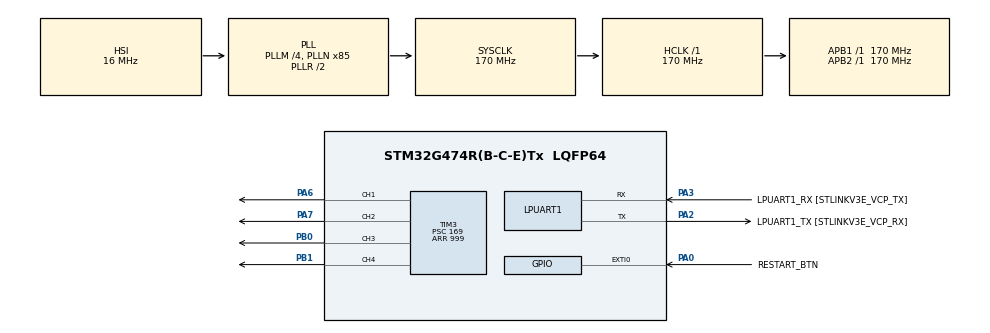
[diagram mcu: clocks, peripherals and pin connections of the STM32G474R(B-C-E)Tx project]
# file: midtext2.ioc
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Mcu.Family=STM32G4
Mcu.Name=STM32G474R(B-C-E)Tx
Mcu.Package=LQFP64
NVIC.EXTI0_IRQn=true\:0\:0\:false\:false\:true\:true\:true\:true
NVIC.LPUART1_IRQn=true\:0\:0\:false\:false\:true\:true\:true\:true
NVIC.PriorityGroup=NVIC_PRIORITYGROUP_4
PA0.GPIO_Label=RESTART_BTN
PA0.GPIO_ModeDefaultEXTI=GPIO_MODE_IT_FALLING
PA0.GPIO_PuPd=GPIO_PULLUP
PA0.Signal=GPXTI0
PA13.GPIO_Label=T_SWDIO
PA13.Mode=Serial_Wire
PA13.Signal=SYS_JTMS-SWDIO
PA14.GPIO_Label=T_SWCLK
PA14.Mode=Serial_Wire
PA14.Signal=SYS_JTCK-SWCLK
PA2.GPIO_Label=LPUART1_TX [STLINKV3E_VCP_RX]
PA2.Mode=Asynchronous
PA2.Signal=LPUART1_TX
PA3.GPIO_Label=LPUART1_RX [STLINKV3E_VCP_TX]
PA3.Mode=Asynchronous
PA3.Signal=LPUART1_RX
PA6.Signal=S_TIM3_CH1
PA7.Signal=S_TIM3_CH2
PB0.Signal=S_TIM3_CH3
PB1.Signal=S_TIM3_CH4
PB3.GPIO_Label=T_SWO
PB3.Signal=SYS_JTDO-SWO
PC14-OSC32_IN.GPIO_Label=RCC_OSC32_IN
PC14-OSC32_IN.Signal=RCC_OSC32_IN
PC15-OSC32_OUT.GPIO_Label=RCC_OSC32_OUT
PC15-OSC32_OUT.Signal=RCC_OSC32_OUT
PF0-OSC_IN.GPIO_Label=RCC_OSC_IN
PF0-OSC_IN.Signal=RCC_OSC_IN
PF1-OSC_OUT.GPIO_Label=RCC_OSC_OUT
PF1-OSC_OUT.Signal=RCC_OSC_OUT
ProjectManager.HeapSize=0x200
ProjectManager.StackSize=0x400
ProjectManager.TargetToolchain=STM32CubeIDE
RCC.ADC12Freq_Value=170000000
RCC.ADC345Freq_Value=170000000
RCC.AHBFreq_Value=170000000
RCC.APB1Freq_Value=170000000
RCC.APB1TimFreq_Value=170000000
RCC.APB2Freq_Value=170000000
RCC.APB2TimFreq_Value=170000000
RCC.CortexFreq_Value=170000000
RCC.EXTERNAL_CLOCK_VALUE=12288000
RCC.HCLKFreq_Value=170000000
RCC.HSE_VALUE=24000000
RCC.HSI48_VALUE=48000000
RCC.HSI_VALUE=16000000
RCC.LSE_VALUE=32768
RCC.PLLM=RCC_PLLM_DIV4
RCC.PLLN=85
RCC.RTCClockSelection=RCC_RTCCLKSOURCE_LSE
RCC.SYSCLKFreq_VALUE=170000000
RCC.SYSCLKSource=RCC_SYSCLKSOURCE_PLLCLK
RCC.USBFreq_Value=170000000
RCC.VCOOutputFreq_Value=340000000
SH.S_TIM3_CH1.0=TIM3_CH1,PWM Generation1 CH1
SH.S_TIM3_CH2.0=TIM3_CH2,PWM Generation2 CH2
SH.S_TIM3_CH3.0=TIM3_CH3,PWM Generation3 CH3
SH.S_TIM3_CH4.0=TIM3_CH4,PWM Generation4 CH4
TIM3.Channel-PWM\ Generation1\ CH1=TIM_CHANNEL_1
TIM3.Channel-PWM\ Generation2\ CH2=TIM_CHANNEL_2
TIM3.Channel-PWM\ Generation3\ CH3=TIM_CHANNEL_3
TIM3.Channel-PWM\ Generation4\ CH4=TIM_CHANNEL_4
TIM3.PeriodNoDither=999
TIM3.Prescaler=169
VP_SYS_VS_DBSignals.Mode=DisableDeadBatterySignals
VP_TIM3_VS_ClockSourceINT.Mode=Internal
board=NUCLEO-G474RE

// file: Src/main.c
/* USER CODE BEGIN Header */
/* STM32G474RE 1A2B 猜數字遊戲主程式。
 * Copyright (c) 2026 STMicroelectronics. All rights reserved.
 * 原廠授權條款請參閱專案 LICENSE；若無授權檔，程式依現況提供。
 */
/* USER CODE END Header */
/* 引用標頭檔 */
#include "main.h"
/* 額外引用的標頭檔 */
/* USER CODE BEGIN Includes */
#include <stdio.h>
#include <string.h>
/* USER CODE END Includes */
/* 自訂資料型別 */
/* 常數設定 */
/* USER CODE BEGIN PD */
/* ===== 遊戲與硬體參數 =====
 * GAME_LEN: 猜測長度為 4 位
 * RX_TIMEOUT_MS: 每次輪詢 UART 最多等 1 ms，避免主迴圈卡住
 * DEBOUNCE_MS: 按鈕防彈跳時間 200 ms
 * BREATH_STEP_MS: 每 10 ms 更新一次亮度
 * PWM_TOP: TIM3 ARR=999，CCR 0~999 對應約 0~100% 亮度
 */
#define GAME_LEN          4U
#define RX_TIMEOUT_MS     1U
#define DEBOUNCE_MS       200U
#define BREATH_STEP_MS    10U
#define PWM_TOP           999U
/* USER CODE END PD */
/* 巨集定義 */
/* 全域與靜態變數 */
UART_HandleTypeDef hlpuart1;
TIM_HandleTypeDef htim3;
/* USER CODE BEGIN PV */
/* ===== 遊戲資料 =====
 * answer / previous_answer: 當局與前一局的答案（每位以數值 0~9 儲存）
 * game_started: 第一次玩家操作後才產生答案
 * guess_round: 當局有效猜測次數
 * rng_state: xorshift 偽隨機產生器的內部狀態
 */
static const uint32_t led_channels[GAME_LEN] = {
  TIM_CHANNEL_1, TIM_CHANNEL_2, TIM_CHANNEL_3, TIM_CHANNEL_4
};
static uint8_t answer[GAME_LEN];
static uint8_t previous_answer[GAME_LEN];
static uint8_t have_previous_answer = 0U;
static uint8_t game_started = 0U;
static uint8_t game_won = 0U;
static uint32_t guess_round = 0U;
static uint32_t rng_state = 1U;
static uint8_t rng_seeded = 0U;
static uint8_t input_digits[GAME_LEN];
static uint8_t input_length = 0U;
static uint8_t input_invalid = 0U;
static uint8_t last_was_cr = 0U;
static uint8_t led_breath[GAME_LEN] = {0U};
static uint16_t breath_value = 0U;
static int8_t breath_direction = 1;
static uint32_t last_breath_tick = 0U;
volatile uint8_t restart_requested = 0U;
static volatile uint32_t last_button_tick = 0U;
static volatile uint8_t button_seen = 0U;
static volatile uint32_t first_button_tick = 0U;
static volatile uint32_t first_button_cycle = 0U;
/* USER CODE END PV */
/* 函式宣告 */
void SystemClock_Config(void);
static void MX_GPIO_Init(void);
static void MX_LPUART1_UART_Init(void);
static void MX_TIM3_Init(void);
/* USER CODE BEGIN PFP */
static void UART_Print(const char *message);
static void Seed_RNG(uint32_t tick, uint32_t cycles);
static uint32_t Random_Next(void);
static void Generate_Answer(void);
static void Start_New_Game(uint8_t reveal_old);
static void PWM_Set(uint8_t index, uint16_t duty);
static void LEDs_Clear(void);
static void LEDs_Show_Result(const uint8_t guess[GAME_LEN]);
static void Breath_Update(void);
static void Process_Line(void);
static void Process_Byte(uint8_t byte);
/* USER CODE END PFP */
/* 使用者自訂程式 */
/* USER CODE BEGIN 0 */
/* ===== 遊戲核心函式 =====
 * UART 使用輪詢接收；此區負責回覆訊息、產生答案、更新 LED 與判定輸入。
 */
/* 透過 LPUART1 傳送 ASCII 字串；格式包含 CRLF，方便 GUI 逐行解析。 */
static void UART_Print(const char *message)
{
  size_t length = strlen(message);
  if (length != 0U)
  {
    (void)HAL_UART_Transmit(&hlpuart1, (uint8_t *)message, (uint16_t)length, 1000U);
  }
}
/* 只在首次操作時設定種子，混合系統毫秒數與 DWT 週期數。 */
static void Seed_RNG(uint32_t tick, uint32_t cycles)
{
  if (rng_seeded != 0U) return;
  rng_state = 0x9E3779B9UL ^ tick ^ (cycles * 0x85EBCA6BUL);
  if (rng_state == 0U) rng_state = 0x6D2B79F5UL;
  rng_seeded = 1U;
  (void)Random_Next();
}
/* xorshift32 偽隨機演算法：快速產生下一個 32 位元數。 */
static uint32_t Random_Next(void)
{
  uint32_t x = rng_state; /* 以目前狀態計算下一個偽隨機值。 */
  x ^= x << 13;
  x ^= x >> 17;
  x ^= x << 5;
  rng_state = x;
  return x;
}
/* 從 0~9 數字池抽取不重複的四位答案，允許 0 開頭；避開上一局完全相同的答案。 */
static void Generate_Answer(void)
{
  uint8_t pool[10];
  uint8_t candidate[GAME_LEN];
  uint8_t duplicate;
  do
  {
    for (uint8_t i = 0U; i < 10U; ++i) pool[i] = i;
    for (uint8_t i = 0U; i < GAME_LEN; ++i)
    {
      uint8_t j = (uint8_t)(i + (Random_Next() % (10U - i))); /* 從剩餘數字選一個。 */
      uint8_t swap = pool[i];
      pool[i] = pool[j];
      pool[j] = swap;
      candidate[i] = pool[i];
    }
    duplicate = (uint8_t)(have_previous_answer &&
                         memcmp(candidate, previous_answer, GAME_LEN) == 0);
  } while (duplicate != 0U);
  memcpy(answer, candidate, GAME_LEN);
  memcpy(previous_answer, candidate, GAME_LEN); /* 保存本局，供下局避開重複。 */
  have_previous_answer = 1U;
}
/* 設定指定 LED 的 TIM3 比較值 CCR；0 熄滅，999 接近全亮。 */
static void PWM_Set(uint8_t index, uint16_t duty)
{
  if (index >= GAME_LEN) return;
  if (duty > PWM_TOP) duty = PWM_TOP;
  __HAL_TIM_SET_COMPARE(&htim3, led_channels[index], duty);
}
/* 清除四顆 LED 的呼吸標記，設定 PWM 為 0 並重設呼吸亮度。 */
static void LEDs_Clear(void)
{
  for (uint8_t i = 0U; i < GAME_LEN; ++i)
  {
    led_breath[i] = 0U;
    PWM_Set(i, 0U);
  }
  breath_value = 0U;
  breath_direction = 1;
  last_breath_tick = HAL_GetTick();
}
/* 逐一比較輸入位置：A（數字位置均正確）常亮；B（數字正確但位置錯誤）呼吸；其他熄滅。 */
static void LEDs_Show_Result(const uint8_t guess[GAME_LEN])
{
  for (uint8_t i = 0U; i < GAME_LEN; ++i)
  {
    uint8_t match_a = (uint8_t)(guess[i] == answer[i]); /* 數字及位置都正確。 */
    uint8_t match_b = 0U;
    if (match_a == 0U)
    {
      for (uint8_t j = 0U; j < GAME_LEN; ++j)
      {
        if (guess[i] == answer[j]) { match_b = 1U; break; }
      }
    }
    led_breath[i] = match_b; /* B 對應 LED 啟用呼吸效果。 */
    PWM_Set(i, (match_a != 0U) ? PWM_TOP :
               ((match_b != 0U) ? breath_value : 0U));
  }
}
/* 依 HAL_GetTick() 每 10 ms 增減約 10 個 PWM 單位；約 1 秒漸亮及 1 秒漸暗。 */
static void Breath_Update(void)
{
  uint32_t now = HAL_GetTick();
  while ((uint32_t)(now - last_breath_tick) >= BREATH_STEP_MS)
  {
    last_breath_tick += BREATH_STEP_MS; /* 固定步進，減少更新頻率波動。 */
    if (breath_direction > 0)
    {
      if (breath_value >= 990U) { breath_value = PWM_TOP; breath_direction = -1; }
      else breath_value += 10U;
    }
    else
    {
      if (breath_value <= 10U) { breath_value = 0U; breath_direction = 1; }
      else breath_value -= 10U;
    }
  }
  for (uint8_t i = 0U; i < GAME_LEN; ++i)
  {
    if (led_breath[i] != 0U) PWM_Set(i, breath_value);
  }
}
/* 若是按鈕重開，先輸出舊答案；再產生新答案，清除回合計數、輸入狀態及 LED。 */
static void Start_New_Game(uint8_t reveal_old)
{
  char line[64];
  if ((reveal_old != 0U) && (game_started != 0U))
  {
    (void)snprintf(line, sizeof(line), "Answer: %u%u%u%u\r\n",
                   answer[0], answer[1], answer[2], answer[3]);
    UART_Print(line);
  }
  Generate_Answer();
  game_started = 1U;
  game_won = 0U;
  guess_round = 0U;
  input_length = 0U;
  input_invalid = 0U;
  last_was_cr = 0U;
  LEDs_Clear();
  /* 第一局不主動輸出訊息，避免 UART GUI 首次傳送時漏收字元。 */
  if (reveal_old != 0U) UART_Print("New game!\r\n");
}
/* 遇到換行後檢查輸入，計算 A/B，回傳 Round N: XXXX -> xAyB 並更新四顆 LED。 */
static void Process_Line(void)
{
  uint8_t count_a = 0U;
  uint8_t count_b = 0U;
  char line[64];
  if ((input_length == 0U) && (input_invalid == 0U)) return;
  if ((input_invalid != 0U) || (input_length != GAME_LEN))
  {
    UART_Print("Invalid input! Enter 4 different digits.\r\n");
    return;
  }
  if (game_won != 0U)
  {
    UART_Print("Game finished. Press button to restart.\r\n");
    return;
  }
  for (uint8_t i = 0U; i < GAME_LEN; ++i)
  {
    if (input_digits[i] == answer[i]) ++count_a; /* 位置相同即為 A。 */
    else
    {
      for (uint8_t j = 0U; j < GAME_LEN; ++j)
      {
        if (input_digits[i] == answer[j]) { ++count_b; break; }
      }
    }
  }
  ++guess_round; /* 僅計入格式正確的猜測。 */
  (void)snprintf(line, sizeof(line), "Round %lu: %u%u%u%u -> %uA%uB\r\n",
                 (unsigned long)guess_round,
                 input_digits[0], input_digits[1], input_digits[2], input_digits[3],
                 count_a, count_b);
  UART_Print(line);
  LEDs_Show_Result(input_digits);
  if (count_a == GAME_LEN) game_won = 1U;
}
/* 逐字元接收 0~9；排除重複、超過四位及非數字，支援 LF 與 CRLF。 */
static void Process_Byte(uint8_t byte)
{
  if ((byte == '\r') || (byte == '\n'))
  {
    if ((byte == '\n') && (last_was_cr != 0U)) /* CRLF 只計算一次換行。 */
    {
      last_was_cr = 0U;
      return;
    }
    last_was_cr = (uint8_t)(byte == '\r');
    Process_Line();
    input_length = 0U;
    input_invalid = 0U;
    return;
  }
  last_was_cr = 0U;
  if ((byte < '0') || (byte > '9') || (input_length >= GAME_LEN))
  {
    input_invalid = 1U;
    return;
  }
  for (uint8_t i = 0U; i < input_length; ++i)
  {
    if (input_digits[i] == (uint8_t)(byte - '0')) input_invalid = 1U;
  }
  input_digits[input_length++] = (uint8_t)(byte - '0'); /* ASCII 轉為 0~9 數值。 */
}
/* USER CODE END 0 */
/* 主程式進入點。 */
int main(void)
{
  /* 微控制器基本初始化 */
  /* 重設周邊並初始化 Flash 與 SysTick（提供 HAL_GetTick 毫秒計時）。 */
  HAL_Init();
  /* 設定系統時脈（依 CubeMX 產生的 170 MHz 設定）。 */
  SystemClock_Config();
  /* 初始化 GPIO、LPUART1 與 TIM3 等周邊。 */
  MX_GPIO_Init();
  MX_LPUART1_UART_Init();
  MX_TIM3_Init();
  /* USER CODE BEGIN 2 */
/* 啟用 DWT CPU 週期計數器，以玩家第一次操作的時間作亂數種子。
 * 啟動 TIM3 CH1~CH4 PWM，然後先讓四顆 LED 熄滅。
 */
  CoreDebug->DEMCR |= CoreDebug_DEMCR_TRCENA_Msk;
  DWT->CYCCNT = 0U;
  DWT->CTRL |= DWT_CTRL_CYCCNTENA_Msk;
  for (uint8_t i = 0U; i < GAME_LEN; ++i)
  {
    if (HAL_TIM_PWM_Start(&htim3, led_channels[i]) != HAL_OK) Error_Handler();
  }
  LEDs_Clear();
  /* USER CODE END 2 */
  /* 主迴圈持續處理重新開局、LED 呼吸及 UART 輸入。 */
  while (1)
  {
    /* USER CODE BEGIN 3 */
/* 主迴圈：先處理按鈕設定的重開旗標，再更新呼吸燈，最後輪詢 UART。
 * 中斷內不做 UART 傳送及亂數處理，避免中斷執行時間過長。
 */
    uint8_t byte;
    /* PA0 中斷若要求重新開始，主迴圈在此處理。 */
  if (restart_requested != 0U)
    {
      uint32_t action_tick;
      uint32_t action_cycle;
      __disable_irq();
      restart_requested = 0U;
      action_tick = first_button_tick;
      action_cycle = first_button_cycle;
      __enable_irq();
      if (rng_seeded == 0U) Seed_RNG(action_tick, action_cycle);
      Start_New_Game(1U);
    }
    Breath_Update();
    /* 每次輪詢 1 byte，最多等待 1 ms（短暫阻塞）。 */
  if (HAL_UART_Receive(&hlpuart1, &byte, 1U, RX_TIMEOUT_MS) == HAL_OK)
    {
      /* 第一次收到字元時才啟動第一局並以目前操作時間作種子。 */
    if (game_started == 0U)
      {
        Seed_RNG(HAL_GetTick(), DWT->CYCCNT);
        Start_New_Game(0U);
      }
      Process_Byte(byte);
    }
  }
  /* USER CODE END 3 */
}
/* 設定系統時脈為 CubeMX 產生的設定。 */
void SystemClock_Config(void)
{
  RCC_OscInitTypeDef RCC_OscInitStruct = {0};
  RCC_ClkInitTypeDef RCC_ClkInitStruct = {0};
  /** Configure the main internal regulator output voltage
  */
  HAL_PWREx_ControlVoltageScaling(PWR_REGULATOR_VOLTAGE_SCALE1_BOOST);
  /** Initializes the RCC Oscillators according to the specified parameters
  * in the RCC_OscInitTypeDef structure.
  */
  RCC_OscInitStruct.OscillatorType = RCC_OSCILLATORTYPE_HSI;
  RCC_OscInitStruct.HSIState = RCC_HSI_ON;
  RCC_OscInitStruct.HSICalibrationValue = RCC_HSICALIBRATION_DEFAULT;
  RCC_OscInitStruct.PLL.PLLState = RCC_PLL_ON;
  RCC_OscInitStruct.PLL.PLLSource = RCC_PLLSOURCE_HSI;
  RCC_OscInitStruct.PLL.PLLM = RCC_PLLM_DIV4;
  RCC_OscInitStruct.PLL.PLLN = 85;
  RCC_OscInitStruct.PLL.PLLP = RCC_PLLP_DIV2;
  RCC_OscInitStruct.PLL.PLLQ = RCC_PLLQ_DIV2;
  RCC_OscInitStruct.PLL.PLLR = RCC_PLLR_DIV2;
  if (HAL_RCC_OscConfig(&RCC_OscInitStruct) != HAL_OK)
  {
    Error_Handler();
  }
  /** Initializes the CPU, AHB and APB buses clocks
  */
  RCC_ClkInitStruct.ClockType = RCC_CLOCKTYPE_HCLK|RCC_CLOCKTYPE_SYSCLK
                              |RCC_CLOCKTYPE_PCLK1|RCC_CLOCKTYPE_PCLK2;
  RCC_ClkInitStruct.SYSCLKSource = RCC_SYSCLKSOURCE_PLLCLK;
  RCC_ClkInitStruct.AHBCLKDivider = RCC_SYSCLK_DIV1;
  RCC_ClkInitStruct.APB1CLKDivider = RCC_HCLK_DIV1;
  RCC_ClkInitStruct.APB2CLKDivider = RCC_HCLK_DIV1;
  if (HAL_RCC_ClockConfig(&RCC_ClkInitStruct, FLASH_LATENCY_4) != HAL_OK)
  {
    Error_Handler();
  }
}
/* 初始化 LPUART1：115200、8N1。 */
static void MX_LPUART1_UART_Init(void)
{
  hlpuart1.Instance = LPUART1;
  hlpuart1.Init.BaudRate = 115200;
  hlpuart1.Init.WordLength = UART_WORDLENGTH_8B;
  hlpuart1.Init.StopBits = UART_STOPBITS_1;
  hlpuart1.Init.Parity = UART_PARITY_NONE;
  hlpuart1.Init.Mode = UART_MODE_TX_RX;
  hlpuart1.Init.HwFlowCtl = UART_HWCONTROL_NONE;
  hlpuart1.Init.OneBitSampling = UART_ONE_BIT_SAMPLE_DISABLE;
  hlpuart1.Init.ClockPrescaler = UART_PRESCALER_DIV1;
  hlpuart1.AdvancedInit.AdvFeatureInit = UART_ADVFEATURE_NO_INIT;
  if (HAL_UART_Init(&hlpuart1) != HAL_OK)
  {
    Error_Handler();
  }
  if (HAL_UARTEx_SetTxFifoThreshold(&hlpuart1, UART_TXFIFO_THRESHOLD_1_8) != HAL_OK)
  {
    Error_Handler();
  }
  if (HAL_UARTEx_SetRxFifoThreshold(&hlpuart1, UART_RXFIFO_THRESHOLD_1_8) != HAL_OK)
  {
    Error_Handler();
  }
  if (HAL_UARTEx_DisableFifoMode(&hlpuart1) != HAL_OK)
  {
    Error_Handler();
  }
}
/* 初始化 TIM3 四通道 PWM，預分頻 169，週期 999。 */
static void MX_TIM3_Init(void)
{
  TIM_ClockConfigTypeDef sClockSourceConfig = {0};
  TIM_MasterConfigTypeDef sMasterConfig = {0};
  TIM_OC_InitTypeDef sConfigOC = {0};
  htim3.Instance = TIM3;
  htim3.Init.Prescaler = 169;
  htim3.Init.CounterMode = TIM_COUNTERMODE_UP;
  htim3.Init.Period = 999;
  htim3.Init.ClockDivision = TIM_CLOCKDIVISION_DIV1;
  htim3.Init.AutoReloadPreload = TIM_AUTORELOAD_PRELOAD_DISABLE;
  if (HAL_TIM_Base_Init(&htim3) != HAL_OK)
  {
    Error_Handler();
  }
  sClockSourceConfig.ClockSource = TIM_CLOCKSOURCE_INTERNAL;
  if (HAL_TIM_ConfigClockSource(&htim3, &sClockSourceConfig) != HAL_OK)
  {
    Error_Handler();
  }
  if (HAL_TIM_PWM_Init(&htim3) != HAL_OK)
  {
    Error_Handler();
  }
  sMasterConfig.MasterOutputTrigger = TIM_TRGO_RESET;
  sMasterConfig.MasterSlaveMode = TIM_MASTERSLAVEMODE_DISABLE;
  if (HAL_TIMEx_MasterConfigSynchronization(&htim3, &sMasterConfig) != HAL_OK)
  {
    Error_Handler();
  }
  sConfigOC.OCMode = TIM_OCMODE_PWM1;
  sConfigOC.Pulse = 0;
  sConfigOC.OCPolarity = TIM_OCPOLARITY_HIGH;
  sConfigOC.OCFastMode = TIM_OCFAST_DISABLE;
  if (HAL_TIM_PWM_ConfigChannel(&htim3, &sConfigOC, TIM_CHANNEL_1) != HAL_OK)
  {
    Error_Handler();
  }
  if (HAL_TIM_PWM_ConfigChannel(&htim3, &sConfigOC, TIM_CHANNEL_2) != HAL_OK)
  {
    Error_Handler();
  }
  if (HAL_TIM_PWM_ConfigChannel(&htim3, &sConfigOC, TIM_CHANNEL_3) != HAL_OK)
  {
    Error_Handler();
  }
  if (HAL_TIM_PWM_ConfigChannel(&htim3, &sConfigOC, TIM_CHANNEL_4) != HAL_OK)
  {
    Error_Handler();
  }
  HAL_TIM_MspPostInit(&htim3);
}
/* 初始化 GPIO 與 PA0 外部中斷。 */
static void MX_GPIO_Init(void)
{
  GPIO_InitTypeDef GPIO_InitStruct = {0};
  /* 啟用 GPIO 埠時鐘，才能設定輸入／輸出腳位。 */
  __HAL_RCC_GPIOC_CLK_ENABLE();
  __HAL_RCC_GPIOF_CLK_ENABLE();
  __HAL_RCC_GPIOA_CLK_ENABLE();
  __HAL_RCC_GPIOB_CLK_ENABLE();
  /* 設定 PA0 重新開始按鈕為下降沿中斷，啟用內部上拉 */
  GPIO_InitStruct.Pin = RESTART_BTN_Pin;
  GPIO_InitStruct.Mode = GPIO_MODE_IT_FALLING;
  GPIO_InitStruct.Pull = GPIO_PULLUP;
  HAL_GPIO_Init(RESTART_BTN_GPIO_Port, &GPIO_InitStruct);
  /* 啟用 PA0 對應的 EXTI0 外部中斷。 */
  HAL_NVIC_SetPriority(EXTI0_IRQn, 0, 0);
  HAL_NVIC_EnableIRQ(EXTI0_IRQn);
}
/* USER CODE BEGIN 4 */
/* PA0 下降沿中斷的 HAL callback。
 * 只判斷防彈跳、記錄按下時刻、設定 restart_requested。
 * 真正公布答案／開始新局由 main() 主迴圈處理。
 */
void HAL_GPIO_EXTI_Callback(uint16_t GPIO_Pin)
{
  if (GPIO_Pin == RESTART_BTN_Pin)
  {
    uint32_t now = HAL_GetTick();
    /* 首次按下直接接受，其餘間隔至少 200 毫秒。 */
  if ((button_seen == 0U) || ((uint32_t)(now - last_button_tick) >= DEBOUNCE_MS))
    {
      button_seen = 1U;
      last_button_tick = now;
      /* 主迴圈尚未處理前，不覆寫第一次按下時間。 */
      if (restart_requested == 0U)
      {
        first_button_tick = now;
        first_button_cycle = DWT->CYCCNT;
        restart_requested = 1U;
      } /* 中斷只通知主迴圈，不在此重新開局。 */
    }
  }
}
/* USER CODE END 4 */
/* 初始化或操作失敗時停留於此函式。 */
void Error_Handler(void)
{
  /* USER CODE BEGIN Error_Handler_Debug */
  /* HAL 發生錯誤時停在此處，方便使用除錯器追查。 */
  __disable_irq();
  while (1)
  {
  }
  /* USER CODE END Error_Handler_Debug */
}
#ifdef USE_FULL_ASSERT
/* 斷言失敗時可使用檔名與行號追查錯誤。 */
void assert_failed(uint8_t *file, uint32_t line)
{
  /* USER CODE BEGIN 6 */
  /* 需要時可在此輸出斷言失敗的檔名與行號，
     例如透過 UART 輸出錯誤位置。 */
  /* USER CODE END 6 */
}
#endif /* USE_FULL_ASSERT */
